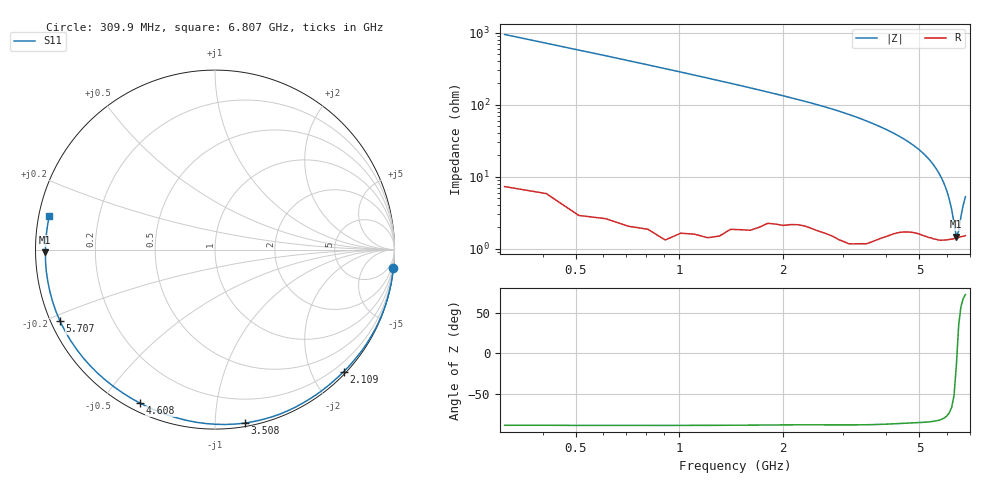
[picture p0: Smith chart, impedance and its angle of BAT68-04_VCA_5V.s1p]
! Infineon Technologies  Discrete & RF Semiconductors
! BAT68-04
! VCA = 5 V
! One-Port S-Parameters
# Hz  S  MA  R  50
!f  S11
!Hz  Mag  Ang
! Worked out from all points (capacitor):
!   66 points, 309.9 MHz to 6.807 GHz, reference 50 ohm
!   read as one part to ground: C = 541 fF near 309.9 MHz
!   lowest |Z| = 1.46 ohm at 6.407 GHz (marker M1)
!   series resonance near 6.434 GHz, so ESL is about 1.1 nH
!   S11 on the Smith chart (normalised r, x): 309.9 MHz: 0, -19; 2.109 GHz: 0.04, -2.50; 3.508 GHz: 0.02, -1.19; 4.608 GHz: 0.03, -0.62; 5.707 GHz: 0.03, -0.22; 6.807 GHz: 0.03, +0.10
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3.0985e8  0.9992 -6.0
5.0975e8  0.9991 -10.0
8.096e8  0.9986 -15.9
1.2094e9  0.9975 -24.1
1.6092e9  0.9944 -32.5
2.009e9  0.9896 -41.3
2.10895e9  0.9882 -43.6
2.50875e9  0.9859 -52.8
2.8086e9  0.9853 -60.4
3.0085e9  0.9853 -65.7
3.2084e9  0.9843 -71.3
3.50825e9  0.9808 -80.2
3.6082e9  0.9786 -83.3
3.8081e9  0.9735 -89.6
4.008e9  0.9679 -96.0
4.2079e9  0.9617 -102.5
4.4078e9  0.9561 -109.2
4.6077e9  0.9522 -116.0
4.90755e9  0.9493 -126.4
5.2074e9  0.9498 -137.2
5.50725e9  0.951 -148.0
5.70715e9  0.9512 -155.2
5.90705e9  0.95 -162.3
6.007e9  0.9493 -165.7
6.2069e9  0.9475 -172.6
6.4068e9  0.9453 -179.1
6.6067e9  0.9433 174.6
6.8066e9  0.9419 168.5
